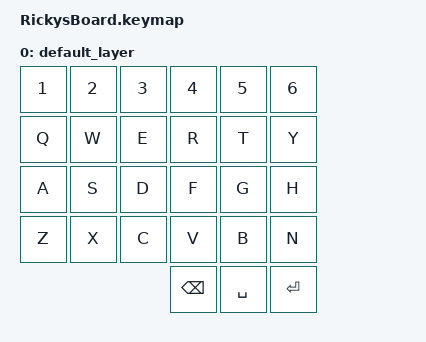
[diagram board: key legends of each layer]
#include <behaviors.dtsi>
#include <dt-bindings/zmk/keys.h>
#include <dt-bindings/zmk/bt.h>

/ {
    keymap {
        compatible = "zmk,keymap";

        default_layer {
        // ,-----------------------------------.
        // |  1  |  2  |  3  |  4  |  5  |  6  |
        // |  Q  |  W  |  E  |  R  |  T  |  Y  |
        // |  A  |  S  |  D  |  F  |  G  |  H  |
        // |  Z  |  X  |  C  |  V  |  B  |  N  |
        // `-----------------| DEL | Spc |Enter|
            bindings = <
        &kp 1   &kp 2   &kp 3   &kp 4   &kp 5    &kp 6
        &kp Q   &kp W   &kp E   &kp R   &kp T    &kp Y
        &kp A   &kp S   &kp D   &kp F   &kp G    &kp H
        &kp Z   &kp X   &kp C   &kp V   &kp B    &kp N
                                &kp BSPC  &kp SPACE &kp ENTER
            >;
        };
    };
};
